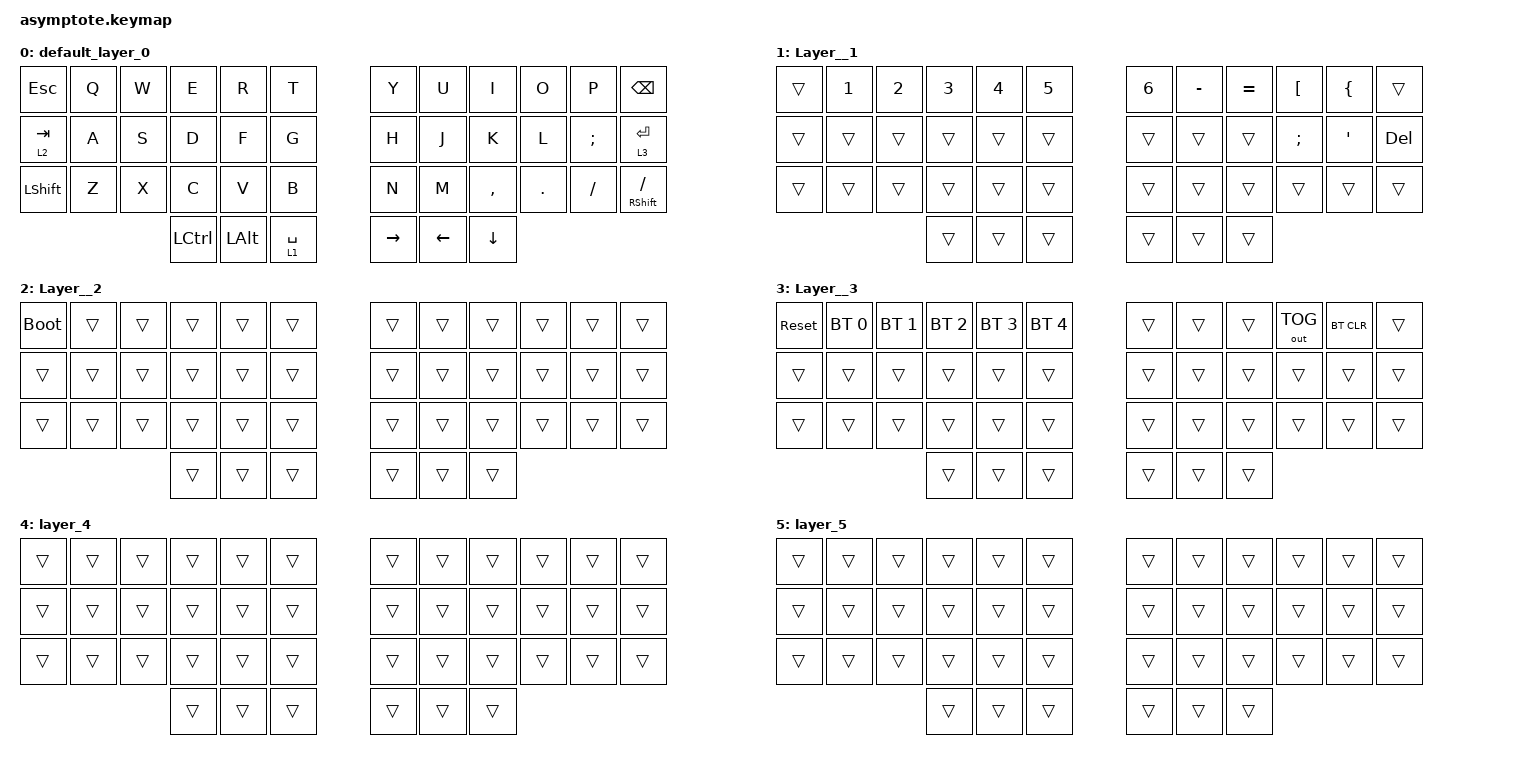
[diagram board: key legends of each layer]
/*
 * Copyright (c) 2020 The ZMK Contributors
 *
 * SPDX-License-Identifier: MIT
 */

#include <behaviors.dtsi>
#include <dt-bindings/zmk/bt.h>
#include <dt-bindings/zmk/keys.h>
#include <dt-bindings/zmk/outputs.h>

&mt { tapping-term-ms = <200>; };

&lt { quick-tap-ms = <400>; };

/ {
    keymap {
        compatible = "zmk,keymap";

        default_layer_0 {
            bindings = <
&kp ESC    &kp Q  &kp W  &kp E      &kp R         &kp T          &kp Y      &kp U     &kp I      &kp O    &kp P          &kp BSPC
&lt 2 TAB  &kp A  &kp S  &kp D      &kp F         &kp G          &kp H      &kp J     &kp K      &kp L    &kp SEMICOLON  &lt 3 RET
&kp LSHFT  &kp Z  &kp X  &kp C      &kp V         &kp B          &kp N      &kp M     &kp COMMA  &kp DOT  &kp SLASH      &mt RSHIFT SLASH
                         &kp LCTRL  &kp LEFT_ALT  &lt 1 SPACE    &kp RIGHT  &kp LEFT  &kp DOWN
            >;
        };

        Layer__1 {
            bindings = <
&trans  &kp N1  &kp N2  &kp N3  &kp N4  &kp N5    &kp N6  &kp MINUS  &kp EQUAL  &kp LBKT  &kp LBRC  &trans
&trans  &trans  &trans  &trans  &trans  &trans    &trans  &trans     &trans     &kp SEMI  &kp SQT   &kp DEL
&trans  &trans  &trans  &trans  &trans  &trans    &trans  &trans     &trans     &trans    &trans    &trans
                        &trans  &trans  &trans    &trans  &trans     &trans
            >;
        };

        Layer__2 {
            bindings = <
&bootloader  &trans  &trans  &trans  &trans  &trans    &trans  &trans  &trans  &trans  &trans  &trans
&trans       &trans  &trans  &trans  &trans  &trans    &trans  &trans  &trans  &trans  &trans  &trans
&trans       &trans  &trans  &trans  &trans  &trans    &trans  &trans  &trans  &trans  &trans  &trans
                             &trans  &trans  &trans    &trans  &trans  &trans
            >;
        };

        Layer__3 {
            bindings = <
&sys_reset  &bt BT_SEL 0  &bt BT_SEL 1  &bt BT_SEL 2  &bt BT_SEL 3  &bt BT_SEL 4    &trans  &trans  &trans  &out OUT_TOG  &bt BT_CLR  &trans
&trans      &trans        &trans        &trans        &trans        &trans          &trans  &trans  &trans  &trans        &trans      &trans
&trans      &trans        &trans        &trans        &trans        &trans          &trans  &trans  &trans  &trans        &trans      &trans
                                        &trans        &trans        &trans          &trans  &trans  &trans
            >;
        };

        layer_4 {
            bindings = <
&trans  &trans  &trans  &trans  &trans  &trans    &trans  &trans  &trans  &trans  &trans  &trans
&trans  &trans  &trans  &trans  &trans  &trans    &trans  &trans  &trans  &trans  &trans  &trans
&trans  &trans  &trans  &trans  &trans  &trans    &trans  &trans  &trans  &trans  &trans  &trans
                        &trans  &trans  &trans    &trans  &trans  &trans
            >;
        };

        layer_5 {
            bindings = <
&trans  &trans  &trans  &trans  &trans  &trans    &trans  &trans  &trans  &trans  &trans  &trans
&trans  &trans  &trans  &trans  &trans  &trans    &trans  &trans  &trans  &trans  &trans  &trans
&trans  &trans  &trans  &trans  &trans  &trans    &trans  &trans  &trans  &trans  &trans  &trans
                        &trans  &trans  &trans    &trans  &trans  &trans
            >;
        };
    };
};
